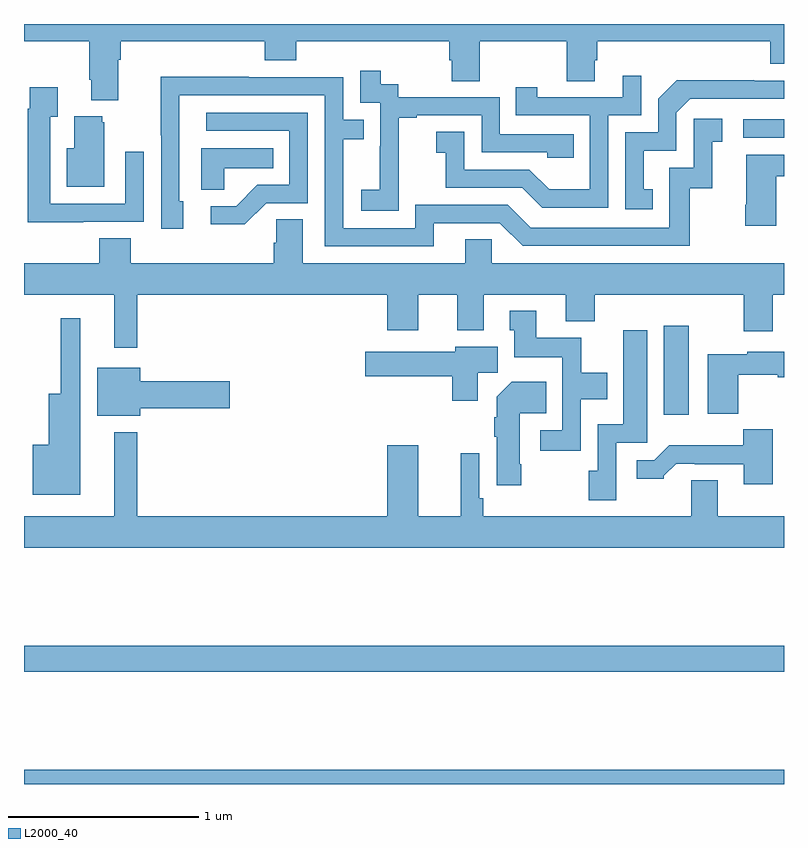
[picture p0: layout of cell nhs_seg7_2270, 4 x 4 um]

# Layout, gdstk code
import gdstk
lib = gdstk.Library(unit=1e-6, precision=1e-09)
def R(c, l, rs):  # rectangles x0, y0, x1, y1
    for r in rs: c.add(gdstk.rectangle(r[:2], r[2:], *l))
def P(c, l, *ps):  # polygons
    for p in ps: c.add(gdstk.Polygon(p, *l))
L2000_40 = (2000, 40)

nhs_seg7_2270 = lib.new_cell('nhs_seg7_2270')
R(nhs_seg7_2270, L2000_40, [(259,1038,263,1038.076), (259,1038.592,263,1038.728), (262.367,1039.944,262.498,1040.413), (262.785,1041.402,263,1041.498)])
P(nhs_seg7_2270, L2000_40, [(259.495,1041.812),(259.508,1041.812),(259.508,1041.908),(260.267,1041.908),(260.267,1041.809),(260.432,1041.809),(260.432,1041.908),(261.239,1041.908),(261.239,1041.81),(261.251,1041.81),(261.251,1041.7),(261.399,1041.7),(261.399,1041.908),(261.856,1041.908),(261.856,1041.7),(262.003,1041.7),(262.003,1041.81),(262.016,1041.81),(262.016,1041.908),(262.928,1041.908),(262.928,1041.791),(263,1041.791),(263,1042),(259,1042),(259,1041.908),(259.343,1041.908),(259.343,1041.706),(259.355,1041.706),(259.355,1041.599),(259.495,1041.599)],
  [(260.973,1041.223),(260.972,1041.223),(260.972,1041.507),(261.067,1041.507),(261.067,1041.519),(261.408,1041.519),(261.408,1041.324),(261.753,1041.324),(261.753,1041.297),(261.893,1041.297),(261.893,1041.42),(261.504,1041.42),(261.504,1041.615),(260.97,1041.615),(260.97,1041.684),(260.878,1041.684),(260.878,1041.754),(260.769,1041.754),(260.769,1041.585),(260.874,1041.585),(260.874,1041.356),(260.873,1041.356),(260.873,1041.127),(260.775,1041.127),(260.775,1041.017),(260.973,1041.017)],
  [(262.074,1041.519),(262.248,1041.519),(262.248,1041.727),(262.151,1041.727),(262.151,1041.615),(261.7,1041.615),(261.7,1041.667),(261.589,1041.667),(261.589,1041.519),(261.978,1041.519),(261.978,1041.13),(261.764,1041.13),(261.66,1041.234),(261.318,1041.234),(261.318,1041.433),(261.171,1041.433),(261.171,1041.323),(261.22,1041.323),(261.22,1041.138),(261.623,1041.138),(261.728,1041.033),(262.074,1041.033)],
  [(261.157,1040.952),(261.504,1040.952),(261.624,1040.832),(262.504,1040.832),(262.504,1041.135),(262.622,1041.135),(262.622,1041.381),(262.675,1041.381),(262.675,1041.502),(262.524,1041.502),(262.524,1041.243),(262.395,1041.243),(262.395,1040.928),(261.666,1040.928),(261.546,1041.048),(261.06,1041.048),(261.06,1040.925),(260.679,1040.925),(260.679,1041.394),(260.789,1041.394),(260.789,1041.495),(260.679,1041.495),(260.679,1041.72),(260.183,1041.72),(260.183,1041.722),(259.72,1041.722),(259.72,1041.415),(259.722,1041.415),(259.722,1040.922),(259.837,1040.922),(259.837,1041.066),(259.818,1041.066),(259.818,1041.624),(260.583,1041.624),(260.583,1040.829),(261.157,1040.829)],
  [(262.31,1041.129),(262.261,1041.129),(262.261,1041.333),(262.434,1041.333),(262.434,1041.534),(262.506,1041.606),(263,1041.606),(263,1041.702),(262.844,1041.702),(262.844,1041.704),(262.436,1041.704),(262.338,1041.606),(262.338,1041.429),(262.164,1041.429),(262.164,1041.024),(262.31,1041.024)],
  [(259.313,1040.958),(259.629,1040.958),(259.629,1041.328),(259.533,1041.328),(259.533,1041.054),(259.137,1041.054),(259.137,1041.511),(259.177,1041.511),(259.177,1041.667),(259.029,1041.667),(259.029,1041.554),(259.021,1041.554),(259.021,1040.957),(259.313,1040.957)],
  [(260.274,1041.057),(260.493,1041.057),(260.493,1041.534),(259.959,1041.534),(259.959,1041.438),(260.397,1041.438),(260.397,1041.153),(260.228,1041.153),(260.117,1041.042),(259.983,1041.042),(259.983,1040.945),(260.161,1040.945)],
  [(259.423,1041.483),(259.412,1041.483),(259.412,1041.514),(259.265,1041.514),(259.265,1041.346),(259.226,1041.346),(259.226,1041.143),(259.423,1041.143)],
  [(260.055,1041.242),(260.312,1041.242),(260.312,1041.346),(259.934,1041.346),(259.934,1041.127),(260.055,1041.127)],
  [(262.96,1041.199),(263,1041.199),(263,1041.313),(262.802,1041.313),(262.802,1041.049),(262.795,1041.049),(262.795,1040.937),(262.96,1040.937)],
  [(259.597,1040.576),(260.912,1040.576),(260.912,1040.388),(261.076,1040.388),(261.076,1040.576),(261.281,1040.576),(261.281,1040.387),(261.421,1040.387),(261.421,1040.576),(261.851,1040.576),(261.851,1040.435),(262.004,1040.435),(262.004,1040.576),(262.787,1040.576),(262.787,1040.382),(262.94,1040.382),(262.94,1040.576),(263,1040.576),(263,1040.74),(261.462,1040.74),(261.462,1040.867),(261.323,1040.867),(261.323,1040.74),(260.467,1040.74),(260.467,1040.972),(260.328,1040.972),(260.328,1040.849),(260.315,1040.849),(260.315,1040.74),(259.562,1040.74),(259.562,1040.873),(259.397,1040.873),(259.397,1040.74),(259,1040.74),(259,1040.576),(259.475,1040.576),(259.475,1040.295),(259.597,1040.295)],
  [(261.93,1040.024),(262.069,1040.024),(262.069,1040.164),(261.933,1040.164),(261.933,1040.35),(261.697,1040.35),(261.697,1040.491),(261.557,1040.491),(261.557,1040.388),(261.581,1040.388),(261.581,1040.246),(261.834,1040.246),(261.834,1039.863),(261.717,1039.863),(261.717,1039.755),(261.93,1039.755)],
  [(259.297,1040.452),(259.193,1040.452),(259.193,1040.053),(259.13,1040.053),(259.13,1039.786),(259.046,1039.786),(259.046,1039.523),(259.297,1039.523)],
  [(262.116,1039.797),(262.279,1039.797),(262.279,1040.389),(262.154,1040.389),(262.154,1039.894),(262.02,1039.894),(262.02,1039.65),(261.973,1039.65),(261.973,1039.494),(262.116,1039.494)],
  [(261.388,1040.164),(261.493,1040.164),(261.493,1040.302),(261.27,1040.302),(261.27,1040.275),(260.796,1040.275),(260.796,1040.146),(261.254,1040.146),(261.254,1040.016),(261.388,1040.016)],
  [(262.76,1040.153),(262.968,1040.153),(262.968,1040.141),(263,1040.141),(263,1040.275),(262.806,1040.275),(262.806,1040.263),(262.598,1040.263),(262.598,1039.949),(262.76,1039.949)],
  [(259.612,1039.978),(260.083,1039.978),(260.083,1040.121),(259.612,1040.121),(259.612,1040.191),(259.385,1040.191),(259.385,1039.937),(259.612,1039.937)],
  [(261.618,1039.684),(261.61,1039.684),(261.61,1039.952),(261.749,1039.952),(261.749,1040.116),(261.566,1040.116),(261.488,1040.038),(261.488,1039.931),(261.476,1039.931),(261.476,1039.828),(261.488,1039.828),(261.488,1039.572),(261.618,1039.572)],
  [(262.94,1039.867),(262.785,1039.867),(262.785,1039.783),(262.396,1039.783),(262.317,1039.704),(262.224,1039.704),(262.224,1039.607),(262.368,1039.607),(262.368,1039.622),(262.432,1039.686),(262.531,1039.686),(262.531,1039.683),(262.787,1039.683),(262.787,1039.578),(262.94,1039.578)],
  [(263,1039.408),(262.651,1039.408),(262.651,1039.598),(262.511,1039.598),(262.511,1039.408),(261.416,1039.408),(261.416,1039.504),(261.396,1039.504),(261.396,1039.741),(261.298,1039.741),(261.298,1039.408),(261.076,1039.408),(261.076,1039.783),(260.912,1039.783),(260.912,1039.408),(259.597,1039.408),(259.597,1039.852),(259.475,1039.852),(259.475,1039.408),(259,1039.408),(259,1039.244),(263,1039.244)])

lib.write_gds('nhs_seg7_2270.gds')
